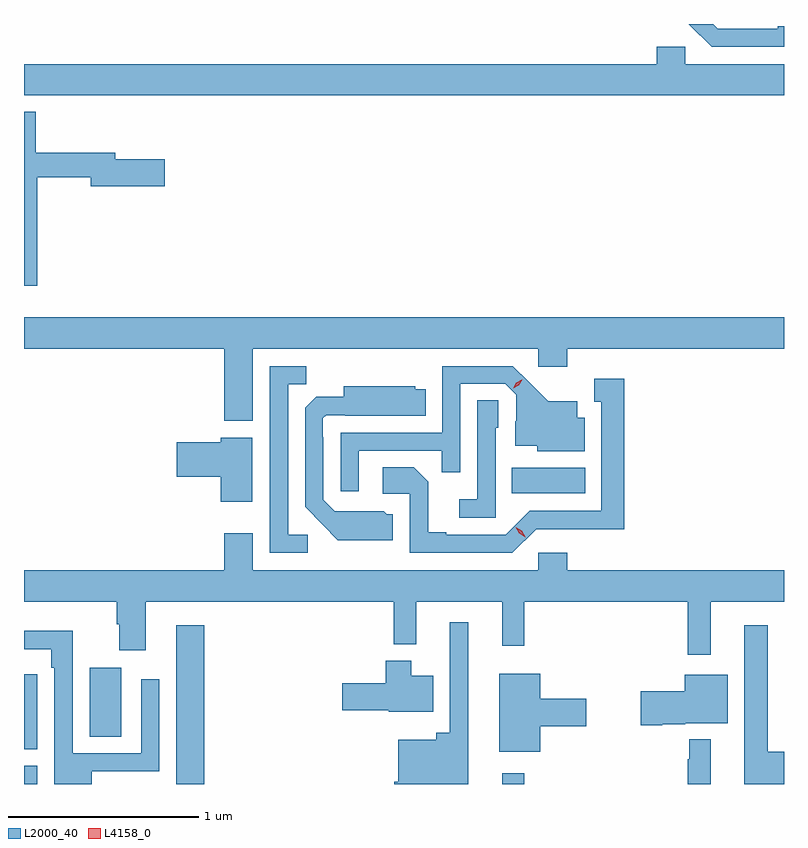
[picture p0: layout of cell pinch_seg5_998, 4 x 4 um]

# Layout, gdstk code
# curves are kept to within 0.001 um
import gdstk
lib = gdstk.Library(unit=1e-6, precision=1e-09)
def R(c, l, rs):  # rectangles x0, y0, x1, y1
    for r in rs: c.add(gdstk.rectangle(r[:2], r[2:], *l))
def P(c, l, *ps):  # polygons
    for p in ps: c.add(gdstk.Polygon(p, *l))
L2000_40 = (2000, 40)
L4158_0 = (4158, 0)

pinch_seg5_998 = lib.new_cell('pinch_seg5_998')
R(pinch_seg5_998, L2000_40, [(719.549,839.816,719.62,839.913), (720.35,839.816,720.497,840.652), (722.066,839.816,722.183,839.872), (719.894,840.064,720.061,840.427), (722.116,841.346,722.503,841.48)])
P(pinch_seg5_998, L2000_40, [(723.549,843.805),(723.515,843.805),(723.515,843.792),(723.201,843.792),(723.177,843.816),(723.048,843.816),(723.168,843.696),(723.549,843.696)],
  [(723.549,843.604),(723.03,843.604),(723.03,843.697),(722.879,843.697),(722.879,843.604),(719.549,843.604),(719.549,843.44),(723.549,843.44)],
  [(719.618,843.01),(719.9,843.01),(719.9,842.963),(720.289,842.963),(720.289,843.105),(720.028,843.105),(720.028,843.139),(719.612,843.139),(719.612,843.355),(719.549,843.355),(719.549,842.438),(719.618,842.438)],
  [(720.754,842.108),(722.256,842.108),(722.256,842.013),(722.408,842.013),(722.408,842.108),(723.549,842.108),(723.549,842.272),(719.549,842.272),(719.549,842.108),(720.602,842.108),(720.602,841.728),(720.754,841.728)],
  [(721.311,841.569),(721.747,841.569),(721.747,841.456),(721.845,841.456),(721.845,841.923),(722.082,841.923),(722.139,841.866),(722.139,841.724),(722.135,841.724),(722.135,841.595),(722.25,841.595),(722.25,841.568),(722.5,841.568),(722.5,841.744),(722.461,841.744),(722.461,841.831),(722.309,841.831),(722.122,842.016),(721.749,842.016),(721.749,841.665),(721.215,841.665),(721.215,841.356),(721.311,841.356)],
  [(721.042,841.128),(720.939,841.128),(720.939,841.921),(721.035,841.921),(721.035,842.016),(720.843,842.016),(720.843,841.032),(721.042,841.032)],
  [(722.244,841.158),(722.707,841.157),(722.707,841.948),(722.549,841.948),(722.549,841.827),(722.588,841.827),(722.588,841.254),(722.211,841.254),(722.085,841.128),(721.771,841.128),(721.771,841.141),(721.677,841.141),(721.677,841.408),(721.601,841.484),(721.437,841.484),(721.437,841.344),(721.578,841.344),(721.578,841.032),(722.118,841.032)],
  [(721.489,841.236),(721.458,841.236),(721.442,841.252),(721.185,841.251),(721.125,841.311),(721.125,841.64),(721.122,841.64),(721.122,841.74),(721.14,841.758),(721.24,841.758),(721.24,841.754),(721.664,841.754),(721.664,841.894),(721.608,841.894),(721.608,841.909),(721.232,841.909),(721.232,841.855),(721.088,841.855),(721.029,841.796),(721.029,841.274),(721.201,841.1),(721.489,841.1)],
  [(722.031,841.692),(722.046,841.692),(722.046,841.835),(721.935,841.835),(721.935,841.315),(721.839,841.315),(721.839,841.218),(722.031,841.218)],
  [(720.751,841.639),(720.584,841.639),(720.584,841.616),(720.354,841.616),(720.354,841.433),(720.584,841.433),(720.584,841.302),(720.751,841.302)],
  [(723.163,840.776),(723.549,840.776),(723.549,840.94),(722.408,840.94),(722.408,841.033),(722.256,841.033),(722.256,840.94),(720.754,840.94),(720.754,841.135),(720.602,841.135),(720.602,840.94),(719.549,840.94),(719.549,840.776),(720.038,840.776),(720.038,840.656),(720.05,840.656),(720.05,840.519),(720.19,840.519),(720.19,840.776),(721.495,840.776),(721.495,840.551),(721.613,840.551),(721.613,840.776),(722.066,840.776),(722.066,840.543),(722.183,840.543),(722.183,840.776),(723.042,840.776),(723.042,840.495),(723.163,840.495)],
  [(721.888,840.667),(721.791,840.667),(721.791,840.085),(721.718,840.085),(721.718,840.049),(721.518,840.049),(721.518,839.827),(721.498,839.827),(721.498,839.816),(721.888,839.816)],
  [(723.549,839.986),(723.463,839.986),(723.463,840.652),(723.341,840.652),(723.341,839.816),(723.549,839.816)],
  [(719.905,839.883),(720.261,839.883),(720.261,840.367),(720.165,840.367),(720.165,839.979),(719.805,839.979),(719.805,840.622),(719.549,840.622),(719.549,840.524),(719.693,840.524),(719.693,840.428),(719.709,840.428),(719.709,839.816),(719.905,839.816)],
  [(721.702,840.385),(721.588,840.385),(721.588,840.466),(721.454,840.466),(721.454,840.345),(721.224,840.345),(721.224,840.203),(721.47,840.203),(721.47,840.197),(721.702,840.197)],
  [(722.266,840.119),(722.509,840.119),(722.509,840.266),(722.266,840.266),(722.266,840.397),(722.051,840.397),(722.051,839.987),(722.266,839.987)],
  [(719.62,840.281),(719.619,840.281),(719.619,840.394),(719.549,840.394),(719.549,839.998),(719.62,839.998)],
  [(722.908,840.131),(723.03,840.131),(723.03,840.137),(723.253,840.137),(723.253,840.391),(723.026,840.391),(723.026,840.303),(722.796,840.303),(722.796,840.125),(722.908,840.125)],
  [(723.163,840.052),(723.049,840.052),(723.049,839.945),(723.042,839.945),(723.042,839.816),(723.163,839.816)])
P(pinch_seg5_998, L4158_0, [(722.188,841.116),(722.156,841.135),(722.138,841.168),(722.138,841.168),(722.138,841.168),(722.17,841.149),(722.188,841.117),(722.188,841.116)],
  [(722.123,841.898),(722.123,841.899),(722.14,841.928),(722.17,841.944),(722.171,841.944),(722.171,841.944),(722.154,841.914),(722.124,841.898)])

lib.write_gds('pinch_seg5_998.gds')
